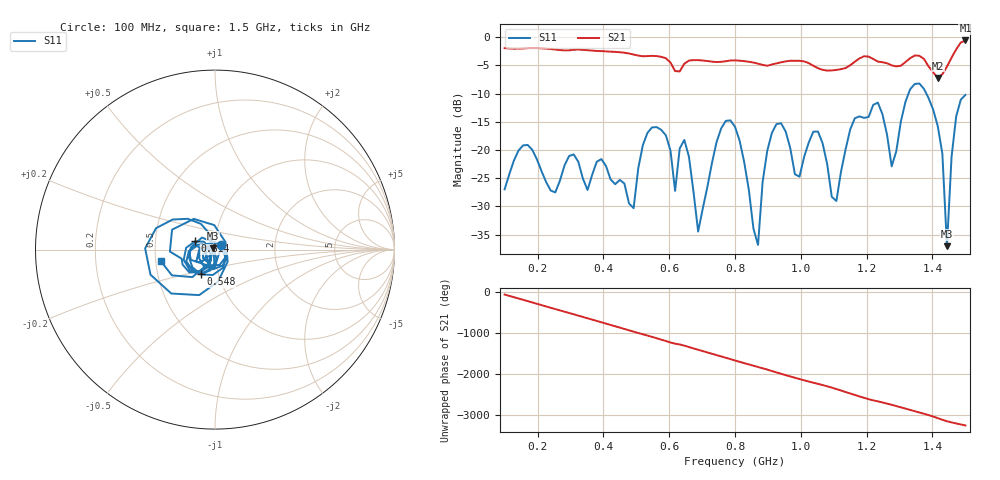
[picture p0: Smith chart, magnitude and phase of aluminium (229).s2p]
! NanoVNA-App
! Date: 2025-09-25 14:57:04
! Start: 100MHz Stop: 1,5GHz Points: 101
! S-Parameter data: F S11 S21 S12 S22
# Hz S RI R 50
!  Frequency  S11_Real  S11_Imag  S21_Real  S21_Imag  S12_Real  S12_Imag  S22_Real  S22_Imag
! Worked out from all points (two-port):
!   101 points, 100 MHz to 1.5 GHz, reference 50 ohm
!   highest |S21| = -0.56 dB at 1.5 GHz (marker M1); lowest = -7.2 dB at 1.416 GHz (marker M2)
!   |S21| within 3 dB of the highest: start of sweep to 581.5 MHz; 1.458 GHz to end of sweep (the widest 2 of 4)
!   lowest |S11| = -37.0 dB at 1.444 GHz (marker M3), VSWR 1.03, Z = 48.9 + j0.812 ohm
!   |S11| at or under -10 dB: start of sweep to 1.327 GHz; 1.381 GHz to end of sweep
!   S12 and S22 are empty: the file has one direction only
!   S11 on the Smith chart (normalised r, x): 100 MHz: 1.07, +0.06; 548 MHz: 0.82, -0.23; 814 MHz: 0.80, +0.07; 1.5 GHz: 0.53, -0.08
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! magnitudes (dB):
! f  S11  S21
! 100 MHz  -27.0  -1.9
! 338 MHz  -25.1  -2.2
! 492 MHz  -30.3  -3.1
! 548 MHz  -16.0  -3.3
! 576 MHz  -16.4  -3.5
! 618 MHz  -27.2  -6.0
! 646 MHz  -18.2  -4.7
! 688 MHz  -34.5  -4.0
! 800 MHz  -15.9  -4.1
! 814 MHz  -18.3  -4.1
! 870 MHz  -36.8  -4.7
! 912 MHz  -17.0  -4.8
! 996 MHz  -24.7  -4.2
! 1.038 GHz  -16.7  -5.0
! 1.108 GHz  -29.0  -5.8
! 1.22 GHz  -12.0  -3.8
! 1.276 GHz  -22.9  -5.0
! 1.346 GHz  -8.3  -3.2
! 1.416 GHz  -15.7  -7.2
! 1.444 GHz  -37.0  -5.2
! 1.472 GHz  -14.0  -2.1
! 1.5 GHz  -10.2  -0.6
